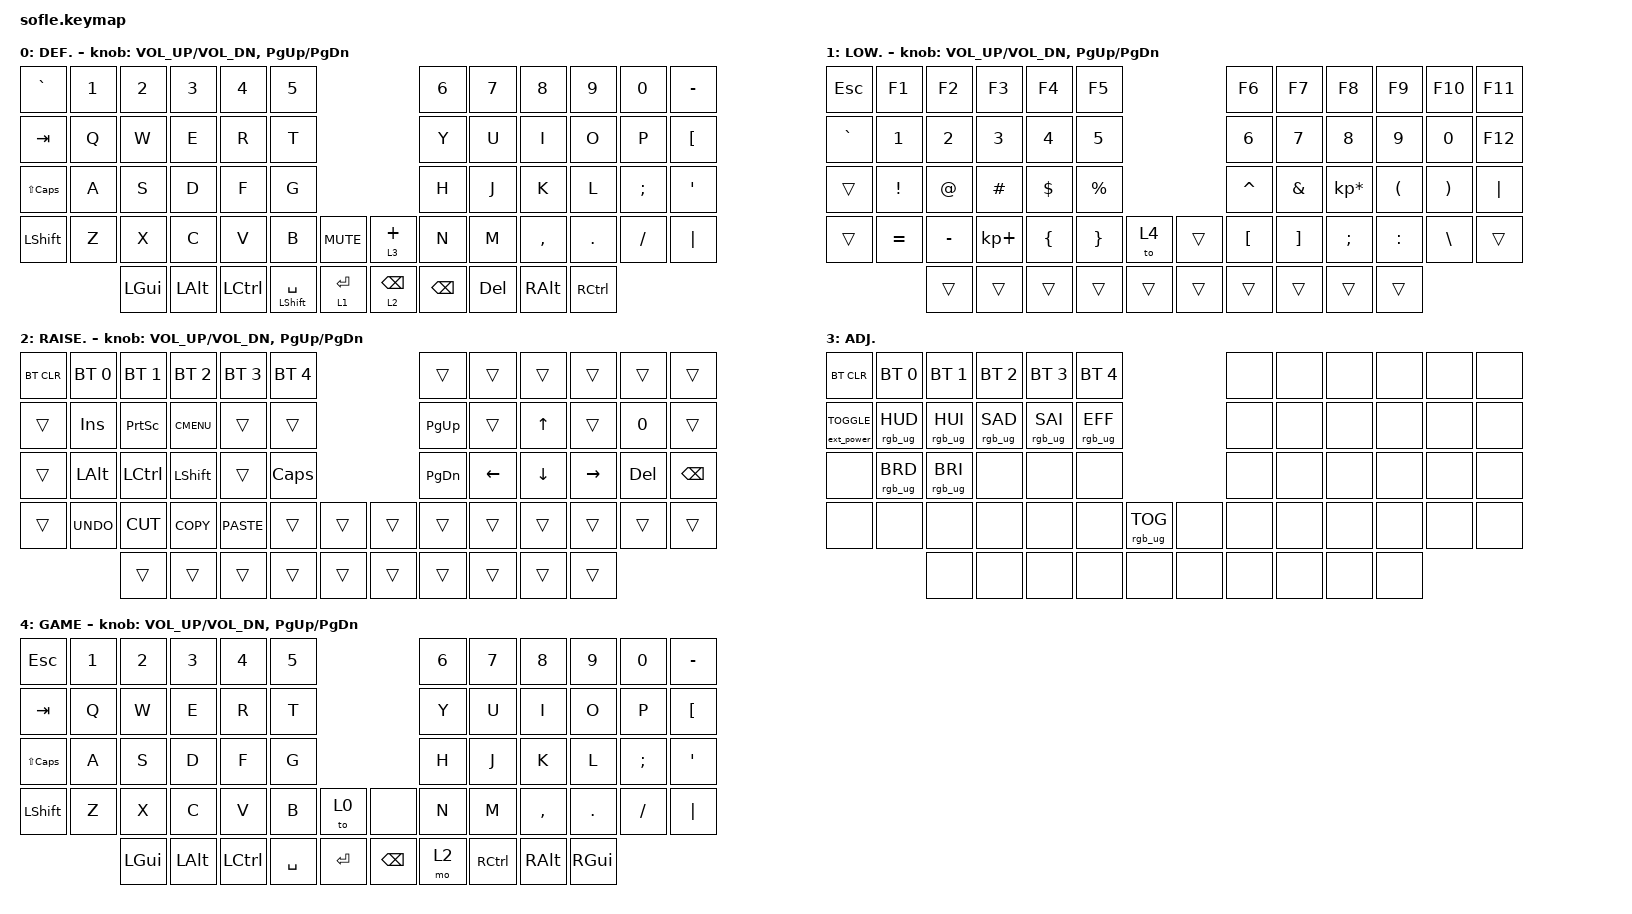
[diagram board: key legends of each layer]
/*
 * Copyright (c) 2020 The ZMK Contributors
 *
 * SPDX-License-Identifier: MIT
 */

#define BASE 0
#define LOWER 1
#define RAISE 2
#define ADJUST 3

/*
 * Temporarily here because nice nano v2 spi is not defined on ZMK Yet
 * Source: https://github.com/zmkfirmware/zmk/blob/main/app/boards/shields/reviung41/boards/nice_nano.overlay
 * GitHub Issue: https://github.com/zmkfirmware/zmk/issues/885
 */

#include <dt-bindings/led/led.h>
#include <behaviors.dtsi>
#include <dt-bindings/zmk/bt.h>
#include <dt-bindings/zmk/ext_power.h>
#include <dt-bindings/zmk/keys.h>
#include <dt-bindings/zmk/rgb.h>

&pinctrl {
    spi3_default: spi3_default {
        group1 { psels = <NRF_PSEL(SPIM_MOSI, 0, 8)>; };
    };

    spi3_sleep: spi3_sleep {
        group1 {
            psels = <NRF_PSEL(SPIM_MOSI, 0, 8)>;
            low-power-enable;
        };
    };
};

&spi3 {
    compatible = "nordic,nrf-spim";
    status = "okay";
    pinctrl-0 = <&spi3_default>;
    pinctrl-1 = <&spi3_sleep>;
    pinctrl-names = "default", "sleep";

    led_strip: ws2812@0 {
        compatible = "worldsemi,ws2812-spi";
        label = "WS2812";

        /* SPI */

        reg = <0>; /* ignored, but necessary for SPI bindings */
        spi-max-frequency = <4000000>;

        /* WS2812 */

        chain-length = <30>;
        spi-one-frame = <0x70>;
        spi-zero-frame = <0x40>;
        color-mapping = <LED_COLOR_ID_GREEN LED_COLOR_ID_RED LED_COLOR_ID_BLUE>;
    };
};

/ {
    chosen { zmk,underglow = &led_strip; };
};

/* END temporary RGB support section */

/ {
    // Activate ADJUST layer by pressing raise and lower

    conditional_layers {
        compatible = "zmk,conditional-layers";

        adjust_layer {
            if-layers = <1 2>;
            then-layer = <3>;
        };
    };

    keymap {
        compatible = "zmk,keymap";

        default_layer {
            display-name = "DEF.";

            // ------------------------------------------------------------------------------------------------------------
            // |  `    |  1  |  2  |  3   |  4   |  5   |                   |  6   |  7    |  8    |  9   |   0   |       |
            // |  ESC  |  Q  |  W  |  E   |  R   |  T   |                   |  Y   |  U    |  I    |  O   |   P   | BKSPC |
            // |  TAB  |  A  |  S  |  D   |  F   |  G   |                   |  H   |  J    |  K    |  L   |   ;   |   '   |
            // | SHIFT |  Z  |  X  |  C   |  V   |  B   |  MUTE  |  |       |  N   |  M    |  ,    |  .   |   /   | SHIFT |
            //               | GUI | ALT  | CTRL | LOWER|  ENTER |  | SPACE | RAISE| CTRL  | ALT   | GUI  |

            bindings = <
&kp GRAVE     &kp N1  &kp N2    &kp N3    &kp N4     &kp N5                                                &kp N6         &kp N7   &kp N8     &kp N9     &kp N0    &kp MINUS
&kp TAB       &kp Q   &kp W     &kp E     &kp R      &kp T                                                 &kp Y          &kp U    &kp I      &kp O      &kp P     &kp LBKT
&kp LS(CAPS)  &kp A   &kp S     &kp D     &kp F      &kp G                                                 &kp H          &kp J    &kp K      &kp L      &kp SEMI  &kp SQT
&kp LSHFT     &kp Z   &kp X     &kp C     &kp V      &kp B                 &kp C_MUTE     &lt 3 PLUS       &kp N          &kp M    &kp COMMA  &kp DOT    &kp FSLH  &kp PIPE
                      &kp LGUI  &kp LALT  &kp LCTRL  &mt LEFT_SHIFT SPACE  &lt 1 ENTER    &lt 2 BACKSPACE  &kp BACKSPACE  &kp DEL  &kp RALT   &kp RCTRL
            >;

            sensor-bindings = <&inc_dec_kp C_VOL_UP C_VOL_DN &inc_dec_kp PG_UP PG_DN>;
        };

        lower_layer {
            display-name = "LOW.";

            // TODO: Some binds are waiting for shifted keycode support.
            // ------------------------------------------------------------------------------------------------------------
            // |       |  F1 |  F2 |  F3  |  F4  |  F5  |                   |  F6  |  F7   |  F8   |  F9  |  F10  |  F11  |
            // | `     |   1 |   2 |   3  |   4  |   5  |                   |   6  |   7   |   8   |   9  |    0  |  F12  |
            // |       |  !  |  @  |  #   |  $   |  %   |                   |  ^   |  &    |  *    |  (   |   )   |   |   |
            // |       |  =  |  -  |  +   |  {   |  }   |        |  |       |  [   |  ]    |  ;    |  :   |   \   |       |
            //               |     |      |      |      |        |  |       |      |       |       |      |

            bindings = <
&kp ESCAPE  &kp F1     &kp F2     &kp F3       &kp F4    &kp F5                       &kp F6     &kp F7    &kp F8           &kp F9     &kp F10   &kp F11
&kp GRAVE   &kp N1     &kp N2     &kp N3       &kp N4    &kp N5                       &kp N6     &kp N7    &kp N8           &kp N9     &kp N0    &kp F12
&trans      &kp EXCL   &kp AT     &kp HASH     &kp DLLR  &kp PRCNT                    &kp CARET  &kp AMPS  &kp KP_MULTIPLY  &kp LPAR   &kp RPAR  &kp PIPE
&trans      &kp EQUAL  &kp MINUS  &kp KP_PLUS  &kp LBRC  &kp RBRC   &to 4     &trans  &kp LBKT   &kp RBKT  &kp SEMI         &kp COLON  &kp BSLH  &trans
                       &trans     &trans       &trans    &trans     &trans    &trans  &trans     &trans    &trans           &trans
            >;

            sensor-bindings = <&inc_dec_kp C_VOL_UP C_VOL_DN &inc_dec_kp PG_UP PG_DN>;
        };

        raise_layer {
            display-name = "RAISE.";

            // ------------------------------------------------------------------------------------------------------------
            // |BTCLR| BT1  | BT2  |  BT3  |  BT4  |  BT5 |                |      |      |       |      |       |       |
            // |     | INS  | PSCR | GUI   |       |      |                | PGUP |      |   ^   |      |       |       |
            // |     | ALT  | CTRL | SHIFT |       | CAPS |                | PGDN |   <- |   v   |  ->  |  DEL  | BKSPC |
            // |     | UNDO | CUT  | COPY  | PASTE |      |      |  |      |      |      |       |      |       |       |
            //              |      |       |       |      |      |  |      |      |      |       |      |

            bindings = <
&bt BT_CLR  &bt BT_SEL 0  &bt BT_SEL 1  &bt BT_SEL 2  &bt BT_SEL 3  &bt BT_SEL 4                    &trans     &trans    &trans    &trans     &trans   &trans
&trans      &kp INS       &kp PSCRN     &kp K_CMENU   &trans        &trans                          &kp PG_UP  &trans    &kp UP    &trans     &kp N0   &trans
&trans      &kp LALT      &kp LCTRL     &kp LSHFT     &trans        &kp CLCK                        &kp PG_DN  &kp LEFT  &kp DOWN  &kp RIGHT  &kp DEL  &kp BSPC
&trans      &kp K_UNDO    &kp K_CUT     &kp K_COPY    &kp K_PASTE   &trans        &trans    &trans  &trans     &trans    &trans    &trans     &trans   &trans
                          &trans        &trans        &trans        &trans        &trans    &trans  &trans     &trans    &trans    &trans
            >;

            sensor-bindings = <&inc_dec_kp C_VOL_UP C_VOL_DN &inc_dec_kp PG_UP PG_DN>;
        };

        // ------------------------------------------------------------------------------------------------------------
        // |BTCLR | BT1   | BT2   |  BT3  |  BT4  |  BT5  |                |      |      |       |      |       |       |
        // |EXTPWR|RGB_HUD|RGB_HUI|RGB_SAD|RGB_SAI|RGB_EFF|                |      |      |       |      |       |       |
        // |      |RGB_BRD|RGB_BRI|       |       |       |                |      |      |       |      |       |       |
        // |      |       |       |       |       |       |RGB_TOG| |      |      |      |       |      |       |       |
        //                |       |       |       |       |       | |      |      |      |       |      |

        Adjust_layer {
            display-name = "ADJ.";
            bindings = <
&bt BT_CLR                       &bt BT_SEL 0     &bt BT_SEL 1     &bt BT_SEL 2     &bt BT_SEL 3     &bt BT_SEL 4                               &none  &none  &none  &none  &none  &none
&ext_power EXT_POWER_TOGGLE_CMD  &rgb_ug RGB_HUD  &rgb_ug RGB_HUI  &rgb_ug RGB_SAD  &rgb_ug RGB_SAI  &rgb_ug RGB_EFF                            &none  &none  &none  &none  &none  &none
&none                            &rgb_ug RGB_BRD  &rgb_ug RGB_BRI  &none            &none            &none                                      &none  &none  &none  &none  &none  &none
&none                            &none            &none            &none            &none            &none            &rgb_ug RGB_TOG    &none  &none  &none  &none  &none  &none  &none
                                                  &none            &none            &none            &none            &none              &none  &none  &none  &none  &none
            >;
        };

        game {
            display-name = "GAME";
            bindings = <
&kp ESCAPE    &kp N1  &kp N2    &kp N3    &kp N4     &kp N5                               &kp N6  &kp N7     &kp N8     &kp N9    &kp N0    &kp MINUS
&kp TAB       &kp Q   &kp W     &kp E     &kp R      &kp T                                &kp Y   &kp U      &kp I      &kp O     &kp P     &kp LBKT
&kp LS(CAPS)  &kp A   &kp S     &kp D     &kp F      &kp G                                &kp H   &kp J      &kp K      &kp L     &kp SEMI  &kp SQT
&kp LSHFT     &kp Z   &kp X     &kp C     &kp V      &kp B      &to 0      &none          &kp N   &kp M      &kp COMMA  &kp DOT   &kp FSLH  &kp PIPE
                      &kp LGUI  &kp LALT  &kp LCTRL  &kp SPACE  &kp RET    &kp BACKSPACE  &mo 2   &kp RCTRL  &kp RALT   &kp RGUI
            >;

            sensor-bindings =
                <&inc_dec_kp C_VOL_UP C_VOL_DN>,
                <&inc_dec_kp PG_UP PG_DN>;
        };
    };
};
